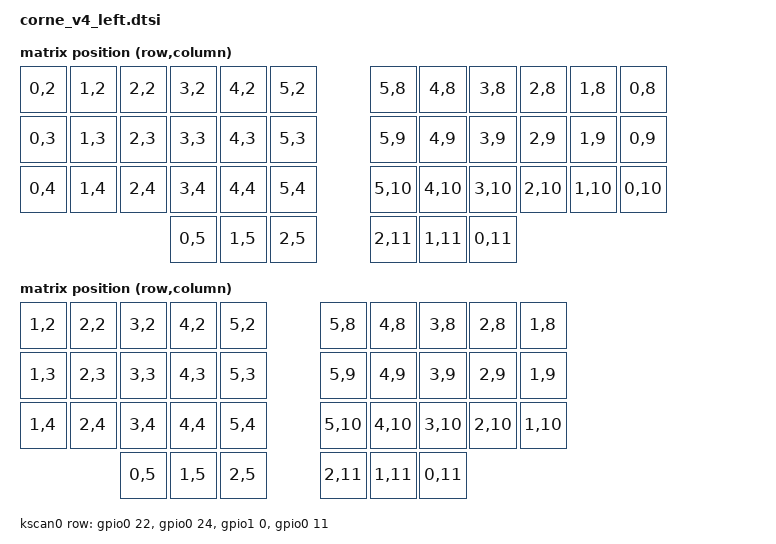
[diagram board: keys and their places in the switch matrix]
#include <dt-bindings/zmk/matrix_transform.h>

#include <layouts/foostan/corne/5column.dtsi>
#include <layouts/foostan/corne/6column.dtsi>

&foostan_corne_6col_layout {
    transform = <&default_transform>;
};

&foostan_corne_5col_layout {
    transform = <&five_column_transform>;
};

/ {
    chosen {
        zmk,kscan = &kscan0;
        zmk,physical-layout = &foostan_corne_6col_layout;
    };

    default_transform: keymap_transform_0 {
        compatible = "zmk,matrix-transform";
        columns = <12>;
        rows = <6>;
        map = <
            RC(0,2) RC(1,2) RC(2,2) RC(3,2) RC(4,2) RC(5,2)  RC(5,8) RC(4,8) RC(3,8) RC(2,8) RC(1,8) RC(0,8)
            RC(0,3) RC(1,3) RC(2,3) RC(3,3) RC(4,3) RC(5,3)  RC(5,9) RC(4,9) RC(3,9) RC(2,9) RC(1,9) RC(0,9)
            RC(0,4) RC(1,4) RC(2,4) RC(3,4) RC(4,4) RC(5,4)  RC(5,10) RC(4,10) RC(3,10) RC(2,10) RC(1,10) RC(0,10)
                                    RC(0,5) RC(1,5) RC(2,5)  RC(2,11) RC(1,11) RC(0,11)
        >;
    };

    five_column_transform: keymap_transform_1 {
        compatible = "zmk,matrix-transform";
        columns = <12>;
        rows = <6>;
        map = <
                    RC(1,2) RC(2,2) RC(3,2) RC(4,2) RC(5,2)  RC(5,8) RC(4,8) RC(3,8) RC(2,8) RC(1,8)
                    RC(1,3) RC(2,3) RC(3,3) RC(4,3) RC(5,3)  RC(5,9) RC(4,9) RC(3,9) RC(2,9) RC(1,9)
                    RC(1,4) RC(2,4) RC(3,4) RC(4,4) RC(5,4)  RC(5,10) RC(4,10) RC(3,10) RC(2,10) RC(1,10)
                            RC(0,5) RC(1,5) RC(2,5)  RC(2,11) RC(1,11) RC(0,11)
        >;
    };

    kscan0: kscan {
        compatible = "zmk,kscan-gpio-matrix";
        wakeup-source;
        diode-direction = "col2row";
        row-gpios = <
            &gpio0 22 (GPIO_ACTIVE_LOW | GPIO_PULL_UP)
            &gpio0 24 (GPIO_ACTIVE_LOW | GPIO_PULL_UP)
            &gpio1 0  (GPIO_ACTIVE_LOW | GPIO_PULL_UP)
            &gpio0 11 (GPIO_ACTIVE_LOW | GPIO_PULL_UP)
        >;
    };
};
